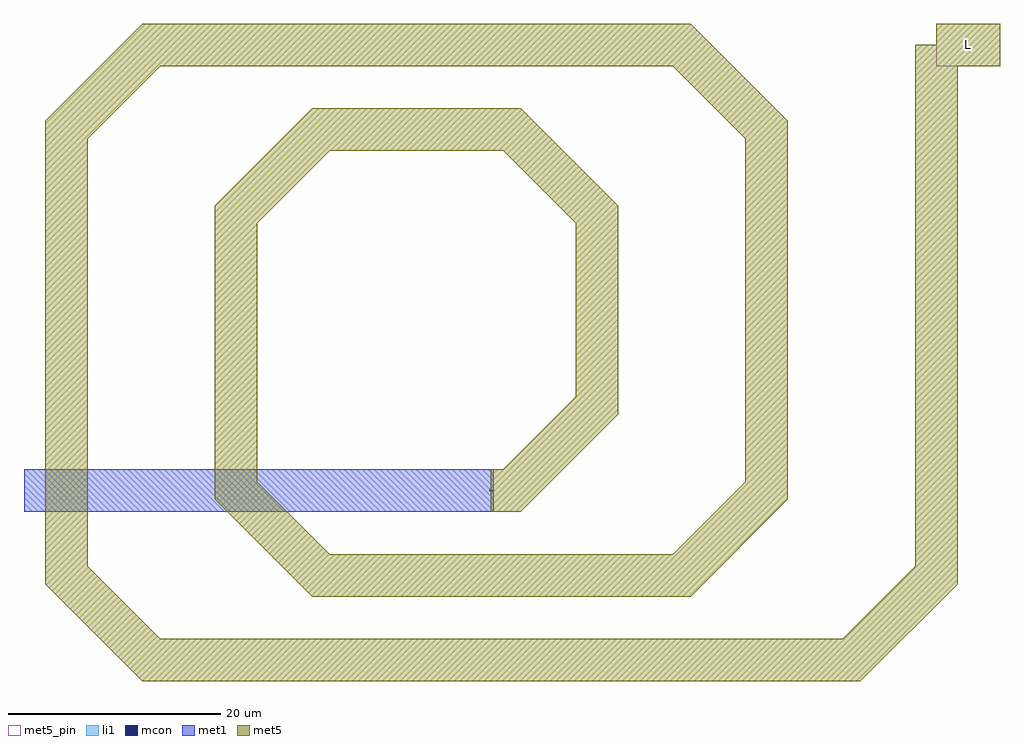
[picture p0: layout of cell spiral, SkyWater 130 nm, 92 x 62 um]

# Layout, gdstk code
import gdstk
lib = gdstk.Library(unit=1e-6, precision=1e-09)
def R(c, l, rs):  # rectangles x0, y0, x1, y1
    for r in rs: c.add(gdstk.rectangle(r[:2], r[2:], *l))
def P(c, l, *ps):  # polygons
    for p in ps: c.add(gdstk.Polygon(p, *l))
li1 = (67, 20)
mcon = (67, 44)
met1 = (68, 20)
met5_pin = (72, 16)
met5 = (72, 20)

spiral = lib.new_cell('spiral')
R(spiral, li1, [(-0.165,-0.085,0.165,0.085)])
R(spiral, mcon, [(-0.085,-0.085,0.085,0.085)])
R(spiral, met1, [(-44,-2,0.285,2), (-0.185,-0.115,0.185,0.115)])
R(spiral, met5_pin, [(42,40,48,44)])
R(spiral, met5, [(42,40,48,44)])
P(spiral, met5, [(-32.83,-18),(-42,-8.83),(-42,34.83),(-32.83,44),(18.83,44),(28,34.83),(28,-0.83),(18.83,-10),(-16.83,-10),(-26,-0.83),(-26,26.83),(-16.83,36),(2.83,36),(12,26.83),(12,7.17),(2.83,-2),(0,-2),(0,2),(1.17,2),(8,8.83),(8,25.17),(1.17,32),(-15.17,32),(-22,25.17),(-22,0.83),(-15.17,-6),(17.17,-6),(24,0.83),(24,33.17),(17.17,40),(-31.17,40),(-38,33.17),(-38,-7.17),(-31.17,-14),(33.17,-14),(40,-7.17),(40,42),(44,42),(44,-8.83),(34.83,-18)])
spiral.add(gdstk.Label('L', (45,42), layer=72, texttype=16))
spiral.add(gdstk.Label('L', (45,42), layer=72, texttype=5))

lib.write_gds('spiral.gds')
